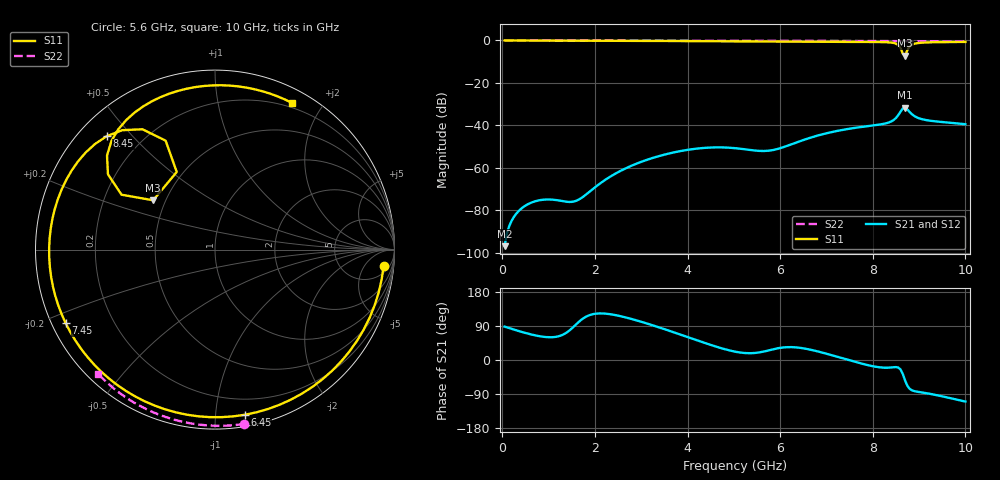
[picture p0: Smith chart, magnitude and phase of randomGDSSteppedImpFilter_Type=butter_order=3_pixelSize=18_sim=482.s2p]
! freq	dB(S11)	phase(S11)	dB(S12)	phase(S12)
!  dB(S21)	phase(S21)	dB(S22)	phase(S22)
!S-par simulation data
#  GHz  S  DB  R 50
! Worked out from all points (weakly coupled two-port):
!   200 points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, 50 MHz to 10 GHz, reference 50 ohm
!   highest |S21| = -31.61 dB at 8.7 GHz (marker M1); lowest = -96.8 dB at 50 MHz (marker M2)
!   lowest |S11| = -7.1 dB at 8.7 GHz (marker M3), VSWR 2.58, Z = 21.4 + j14.6 ohm
!   |S11| at or under -10 dB: nowhere
!   |S22| runs from -0.4 to 0.0 dB; largest |S21 - S12| = 0
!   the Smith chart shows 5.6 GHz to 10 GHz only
!   S11 on the Smith chart (normalised r, x): 5.6 GHz: 9, -15; 6.45 GHz: 0.08, -1.19; 7.45 GHz: 0.04, -0.23; 8.45 GHz: 0.08, +0.43; 10 GHz: 0.15, +1.64
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0.05  -0.00 -3.2  -96.84 88.1  -96.84 88.1  -0.00 -0.8
0.95  -0.08 -59.2  -74.87 60.5  -74.87 60.5  -0.02 -14.6
1.75  -0.13 -105.7  -73.51 110.0  -73.51 110.0  -0.03 -26.6
2.65  -0.18 -155.3  -60.35 112.8  -60.35 112.8  -0.05 -39.9
3.4  -0.23 162.3  -54.34 85.5  -54.34 85.5  -0.07 -50.6
3.85  -0.27 134.5  -52.07 66.9  -52.07 66.9  -0.08 -57.0
4.35  -0.33 100.0  -50.61 45.9  -50.61 45.9  -0.09 -63.8
4.7  -0.38 73.0  -50.33 32.2  -50.33 32.2  -0.10 -68.6
5.05  -0.43 43.6  -50.76 21.5  -50.76 21.5  -0.11 -73.2
5.6  -0.50 -5.6  -52.03 21.1  -52.03 21.1  -0.13 -80.4
6.05  -0.55 -46.0  -50.39 32.9  -50.39 32.9  -0.15 -86.2
6.45  -0.58 -79.8  -47.26 31.8  -47.26 31.8  -0.17 -91.2
6.7  -0.60 -99.7  -45.47 26.0  -45.47 26.0  -0.18 -94.3
7.45  -0.65 -153.8  -41.71 0.8  -41.71 0.8  -0.23 -103.5
7.95  -0.70 172.6  -40.17 -15.1  -40.17 -15.1  -0.26 -109.4
8.35  -0.90 143.1  -38.58 -20.2  -38.58 -20.2  -0.29 -114.1
8.45  -1.18 133.6  -37.46 -19.0  -37.46 -19.0  -0.30 -115.3
8.6  -3.52 114.4  -33.49 -25.1  -33.49 -25.1  -0.31 -117.0
8.7  -7.12 141.4  -31.61 -54.8  -31.61 -54.8  -0.32 -118.2
8.85  -1.96 138.9  -34.82 -80.2  -34.82 -80.2  -0.33 -120.0
9.2  -0.90 109.7  -37.66 -88.4  -37.66 -88.4  -0.36 -124.0
10  -0.69 62.3  -39.44 -109.7  -39.44 -109.7  -0.45 -133.2
